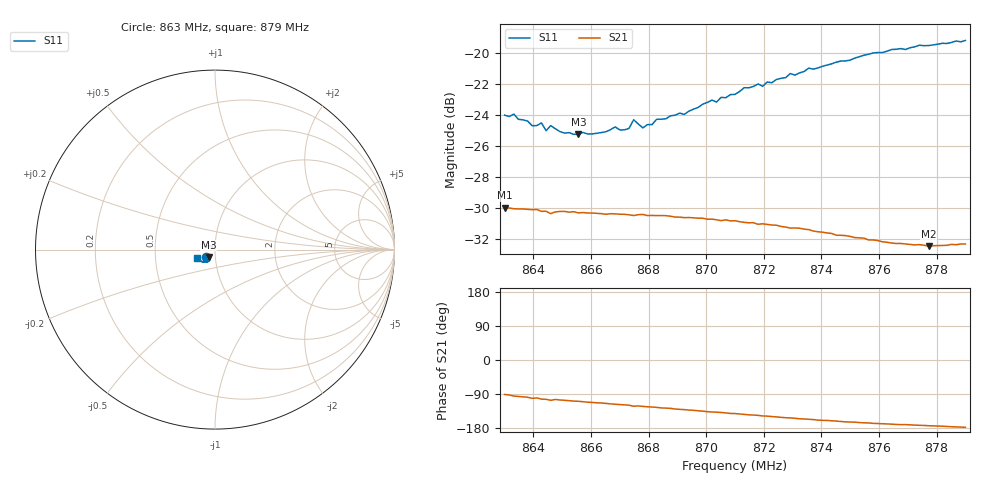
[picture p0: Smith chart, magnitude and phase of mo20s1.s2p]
# HZ S RI R 50
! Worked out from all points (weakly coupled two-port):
!   101 points, 863 MHz to 879 MHz, reference 50 ohm
!   highest |S21| = -29.98 dB at 863 MHz (marker M1); lowest = -32.5 dB at 877.72 MHz (marker M2)
!   lowest |S11| = -25.3 dB at 865.56 MHz (marker M3), VSWR 1.12, Z = 46.5 - j3.89 ohm
!   |S11| at or under -10 dB: start of sweep to end of sweep
!   S12 and S22 are empty: the file has one direction only
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8.63e8  -0.0484 -0.0402  -0.000561 -0.0317  0 0  0 0
8.6332e8  -0.0474 -0.0421  -0.00284 -0.0313  0 0  0 0
8.6396e8  -0.0421 -0.0401  -0.00608 -0.0306  0 0  0 0
8.6428e8  -0.0415 -0.0425  -0.00707 -0.03  0 0  0 0
8.6444e8  -0.0397 -0.0396  -0.00733 -0.03  0 0  0 0
8.646e8  -0.0405 -0.0418  -0.00854 -0.0291  0 0  0 0
8.6556e8  -0.0351 -0.0418  -0.0099 -0.0288  0 0  0 0
8.6572e8  -0.0343 -0.0434  -0.0105 -0.0287  0 0  0 0
8.6684e8  -0.0326 -0.0475  -0.0136 -0.027  0 0  0 0
8.6716e8  -0.0306 -0.0474  -0.0143 -0.0265  0 0  0 0
8.6732e8  -0.0308 -0.048  -0.0147 -0.0262  0 0  0 0
8.6748e8  -0.0326 -0.0513  -0.0158 -0.0253  0 0  0 0
8.678e8  -0.0295 -0.0491  -0.0161 -0.0254  0 0  0 0
8.6844e8  -0.0298 -0.0532  -0.0178 -0.024  0 0  0 0
8.71e8  -0.0365 -0.0637  -0.0225 -0.018  0 0  0 0
8.7132e8  -0.0386 -0.0668  -0.0229 -0.0169  0 0  0 0
8.7196e8  -0.0415 -0.0659  -0.0237 -0.0151  0 0  0 0
8.7292e8  -0.0492 -0.0701  -0.0242 -0.0125  0 0  0 0
8.7372e8  -0.0535 -0.0704  -0.0246 -0.0103  0 0  0 0
8.7644e8  -0.0799 -0.064  -0.024 -0.00451  0 0  0 0
8.7772e8  -0.0895 -0.0556  -0.0237 -0.00273  0 0  0 0
8.79e8  -0.1 -0.0444  -0.0242 -0.000976  0 0  0 0
